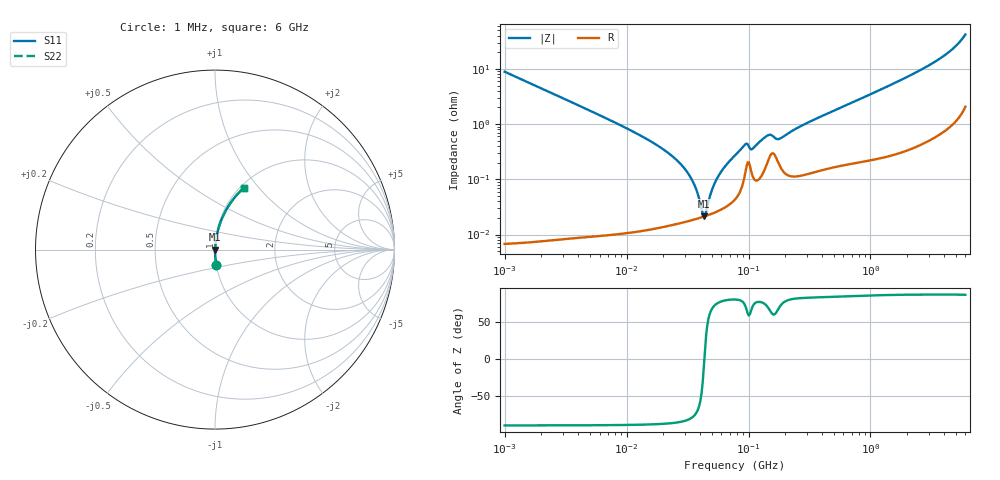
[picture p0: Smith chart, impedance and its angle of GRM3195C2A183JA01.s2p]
!Murata Part Number: GRM3195C2A183JA01
!These Parameters are Measured in Series Mode Connection
!Data Generated on Mar 30, 2021
!  o--ll--o
!Port1  Port2
!  o------o
!Operation Temp=25[degC], DC Bias Voltage=0[V]
!Freq. Start=1000[kHz] Stop=6[GHz] 401[Steps]
# Hz S RI R 50
!Freq.(Hz) S11(Real) S11(Imag) S21(Real) S21(Imag) S12(Real) S12(Imag) S22(Real) S22(Imag)
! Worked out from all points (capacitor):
!   401 points, 1 MHz to 6 GHz, reference 50 ohm
!   read as one part in series: C = 17.9 nF near 1.044 MHz
!   lowest |Z| = 21.4 mohm at 43.06 MHz (marker M1)
!   series resonance near 43.42 MHz, so ESL is about 750 pH
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1000000  0.00792 -0.0882  0.9921 0.0882  0.9921 0.0882  0.00792 -0.0882
4293785  0.000509 -0.0205  0.9995 0.0205  0.9995 0.0205  0.000509 -0.0205
1.843659e7  0.000148 -0.00394  0.9999 0.00394  0.9999 0.00394  0.000148 -0.00394
2.554826e7  0.00016 -0.00227  0.9998 0.00227  0.9998 0.00227  0.00016 -0.00227
3.175522e7  0.000176 -0.0013  0.9998 0.0013  0.9998 0.0013  0.000176 -0.0013
3.618157e7  0.000189 -0.000749  0.9998 0.000749  0.9998 0.000749  0.000189 -0.000749
4.12249e7  0.000205 -0.000212  0.9998 0.000212  0.9998 0.000212  0.000205 -0.000212
4.305766e7  0.000212 -3.39e-05  0.9998 3.39e-05  0.9998 3.39e-05  0.000212 -3.39e-05
4.497189e7  0.000219 0.000145  0.9998 -0.000145  0.9998 -0.000145  0.000219 0.000145
5.013812e7  0.000239 0.000596  0.9998 -0.000596  0.9998 -0.000596  0.000239 0.000596
5.589783e7  0.000266 0.00106  0.9997 -0.00106  0.9997 -0.00106  0.000266 0.00106
6.368941e7  0.000309 0.00165  0.9997 -0.00165  0.9997 -0.00165  0.000309 0.00165
7.745967e7  0.000438 0.00268  0.9996 -0.00268  0.9996 -0.00268  0.000438 0.00268
9.420718e7  0.00134 0.0041  0.9987 -0.0041  0.9987 -0.0041  0.00134 0.0041
1.073387e8  0.0012 0.00333  0.9988 -0.00333  0.9988 -0.00333  0.0012 0.00333
1.455431e8  0.00228 0.00589  0.9977 -0.00589  0.9977 -0.00589  0.00228 0.00589
1.809028e8  0.00176 0.00516  0.9982 -0.00516  0.9982 -0.00516  0.00176 0.00516
3.325952e8  0.00144 0.0115  0.9986 -0.0115  0.9986 -0.0115  0.00144 0.0115
1.428092e9  0.0051 0.0496  0.9949 -0.0496  0.9949 -0.0496  0.0051 0.0496
3.5601e9  0.0263 0.1402  0.9737 -0.1402  0.9737 -0.1402  0.0263 0.1402
4.93336e9  0.0683 0.2317  0.9317 -0.2317  0.9317 -0.2317  0.0683 0.2317
6e9  0.1619 0.3445  0.8381 -0.3445  0.8381 -0.3445  0.1619 0.3445
